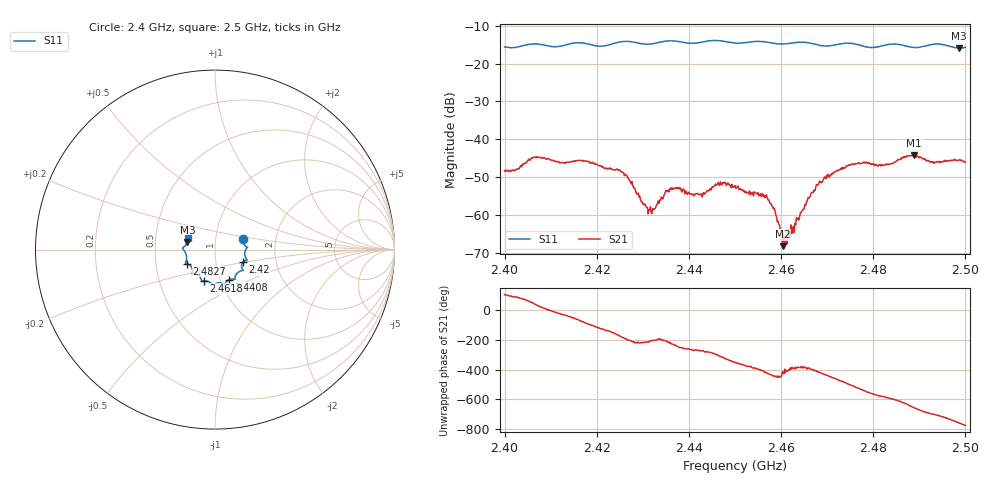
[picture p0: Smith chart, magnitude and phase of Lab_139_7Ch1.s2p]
# Hz S RI R 50
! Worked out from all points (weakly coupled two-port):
!   601 points, 2.4 GHz to 2.5 GHz, reference 50 ohm
!   highest |S21| = -44.16 dB at 2.4888 GHz (marker M1); lowest = -68.2 dB at 2.4603 GHz (marker M2)
!   lowest |S11| = -15.9 dB at 2.4987 GHz (marker M3), VSWR 1.38, Z = 36.5 + j3.24 ohm
!   |S11| at or under -10 dB: start of sweep to end of sweep
!   S12 and S22 are empty: the file has one direction only
!   S11 on the Smith chart (normalised r, x): 2.4 GHz: 1.35, +0.17; 2.42 GHz: 1.35, -0.19; 2.4408 GHz: 1.10, -0.38; 2.4618 GHz: 0.83, -0.30; 2.4827 GHz: 0.72, -0.12; 2.5 GHz: 0.73, +0.10
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2.4e9  0.1544 0.0613  -0.00111 0.00368  0 0  0 0
2.406667e9  0.1816 0.0126  0.00449 0.00371  0 0  0 0
2.416667e9  0.179 -0.0585  0.00135 -0.00506  0 0  0 0
2.42e9  0.1563 -0.0691  -0.00185 -0.00429  0 0  0 0
2.426e9  0.158 -0.1168  -0.00327 0.000545  0 0  0 0
2.4315e9  0.12 -0.1354  -0.00101 0.000601  0 0  0 0
2.433333e9  0.1116 -0.153  -0.00149 0.000359  0 0  0 0
2.436333e9  0.1109 -0.1661  -0.00152 0.00172  0 0  0 0
2.440833e9  0.0775 -0.1684  -5.29e-05 0.0019  0 0  0 0
2.447333e9  0.0482 -0.1919  0.00198 0.00181  0 0  0 0
2.45e9  0.0267 -0.1847  0.00243 0.000348  0 0  0 0
2.456833e9  -0.0165 -0.192  0.000859 -0.00164  0 0  0 0
2.460333e9  -0.0459 -0.1755  0.000232 -0.000313  0 0  0 0
2.460833e9  -0.0516 -0.1747  0.00033 -0.000252  0 0  0 0
2.461833e9  -0.0614 -0.1749  0.000436 -0.000427  0 0  0 0
2.466667e9  -0.0758 -0.1682  0.00153 -0.00124  0 0  0 0
2.474667e9  -0.1268 -0.1363  -0.00353 -0.00295  0 0  0 0
2.482667e9  -0.1578 -0.0776  -0.00318 0.0033  0 0  0 0
2.483333e9  -0.1617 -0.0767  -0.00291 0.0037  0 0  0 0
2.488833e9  -0.1586 -0.0376  0.00293 0.00546  0 0  0 0
2.498667e9  -0.1539 0.0432  0.00394 -0.00365  0 0  0 0
2.5e9  -0.151 0.0633  0.00262 -0.00423  0 0  0 0
